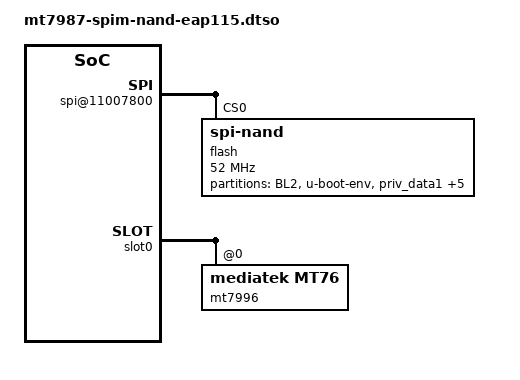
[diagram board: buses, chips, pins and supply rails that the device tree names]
// SPDX-License-Identifier: (GPL-2.0 OR MIT)

/dts-v1/;
/plugin/;

/ {
	fragment@0 {
		target-path = "/soc/spi@11007800";
		__overlay__ {
			pinctrl-names = "default";
			pinctrl-0 = <&spi0_flash_pins>;
			status = "okay";

			flash@0 {
				compatible = "spi-nand";
				reg = <0>;
				spi-max-frequency = <52000000>;
				spi-tx-bus-width = <4>;
				spi-rx-bus-width = <4>;
				mediatek,nmbm;
				mediatek,bmt-max-ratio = <1>;
				mediatek,bmt-max-reserved-blocks = <64>;

				partitions {
					compatible = "fixed-partitions";
					#address-cells = <1>;
					#size-cells = <1>;

					partition@0 {
						label = "BL2";
						reg = <0x00000 0x0100000>;
						read-only;
					};

					partition@100000 {
						label = "u-boot-env";
						reg = <0x0100000 0x0040000>;
					};

					partition@140000 {
						label = "priv_data1";
						reg = <0x140000 0x0020000>;
					};

					partition@160000 {
						label = "priv_data2";
						reg = <0x160000 0x0020000>;
					};

					factory: partition@180000 {
						label = "Factory";
						reg = <0x180000 0x0400000>;

						nvmem-layout {
							compatible = "fixed-layout";
							#address-cells = <1>;
							#size-cells = <1>;

							macaddr_wan: macaddr@ffffa {
								reg = <0xffffa 0x6>;
							};

							macaddr_lan: macaddr@ffff4 {
								reg = <0xffff4 0x6>;
							};
						};
					};

					partition@580000 {
						label = "FIP";
						reg = <0x580000 0x0200000>;
					};

					partition@780000 {
						label = "rootfs1";
						reg = <0x780000 0x3840000>;
					};

					partition@3fc0000 {
						label = "rootfs2";
						reg = <0x3fc0000 0x3840000>;
					};
				};
			};
		};
	};

	fragment@1 {
		target = <&slot0>;
		__overlay__ {
			mt7996@0,0 {
				compatible = "mediatek,mt76";
				reg = <0x0000 0 0 0 0>;
				device_type = "pci";
				bin_file_name = "mediatek/mt7996/edgecore_eap115_eeprom.bin";
			};
		};
	};

	fragment@2 {
		target = <&gmac0>;
		__overlay__ {
			nvmem-cell-names = "mac-address";
			nvmem-cells = <&macaddr_lan>;
		};
	};

	fragment@3 {
		target = <&gmac1>;
		__overlay__ {
			nvmem-cell-names = "mac-address";
			nvmem-cells = <&macaddr_wan>;
		};
	};
};
